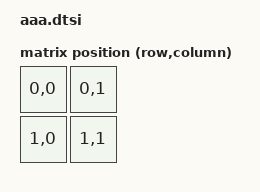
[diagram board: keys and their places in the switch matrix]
#include <dt-bindings/zmk/matrix_transform.h>
#include "aaa-layouts.dtsi"

{
    chosen {
        zmk,physical-layout = &physical_layout0;
    };

    keymap_transform_0: keymap_transform_0 {
        compatible = "zmk,matrix-transform";
        rows = <2>;
        columns = <2>;

        map = <
            RC(0,0) RC(0,1)
            RC(1,0) RC(1,1)
        >;
    };
};
